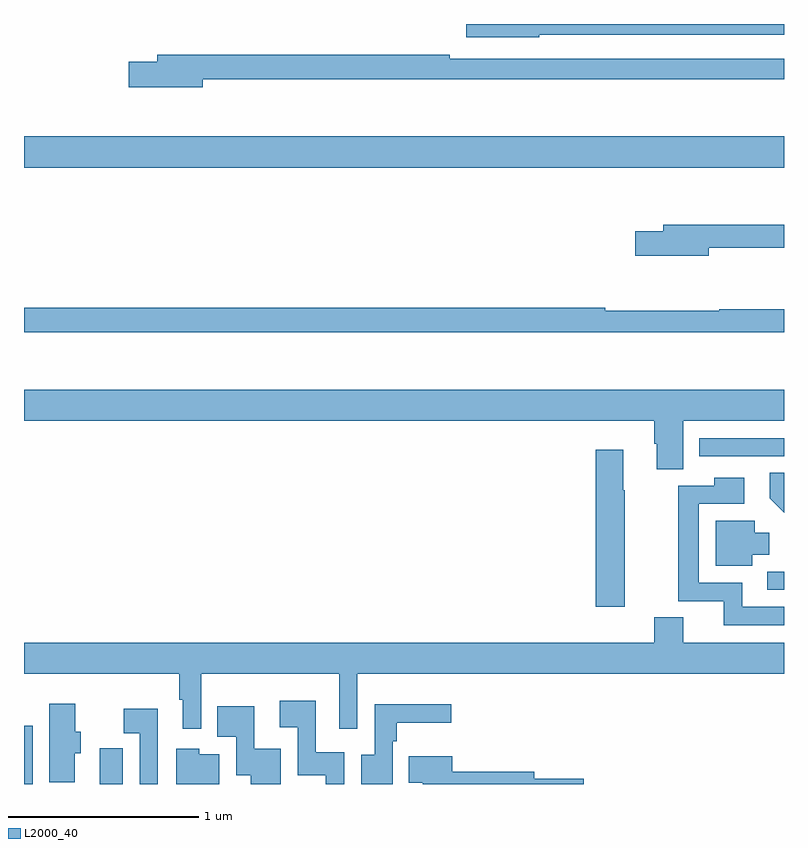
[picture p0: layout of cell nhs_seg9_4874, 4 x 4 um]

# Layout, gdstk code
import gdstk
lib = gdstk.Library(unit=1e-6, precision=1e-09)
def R(c, l, rs):  # rectangles x0, y0, x1, y1
    for r in rs: c.add(gdstk.rectangle(r[:2], r[2:], *l))
def P(c, l, *ps):  # polygons
    for p in ps: c.add(gdstk.Polygon(p, *l))
L2000_40 = (2000, 40)

nhs_seg9_4874 = lib.new_cell('nhs_seg9_4874')
R(nhs_seg9_4874, L2000_40, [(393,1202.5,393.046,1202.806), (393.398,1202.5,393.52,1202.687), (396.912,1203.522,397,1203.618), (396.554,1204.224,397,1204.32), (393,1205.744,397,1205.908)])
P(nhs_seg9_4874, L2000_40, [(395.712,1206.444),(397,1206.444),(397,1206.5),(395.328,1206.5),(395.328,1206.431),(395.712,1206.431)],
  [(393.94,1206.21),(397,1206.21),(397,1206.318),(395.24,1206.318),(395.24,1206.338),(393.701,1206.338),(393.701,1206.302),(393.552,1206.302),(393.552,1206.167),(393.94,1206.167)],
  [(396.604,1205.322),(397,1205.322),(397,1205.443),(396.365,1205.443),(396.365,1205.409),(396.216,1205.409),(396.216,1205.279),(396.604,1205.279)],
  [(397,1204.999),(396.658,1204.999),(396.658,1204.991),(396.058,1204.991),(396.058,1205.006),(393,1205.006),(393,1204.878),(397,1204.878)],
  [(396.469,1204.412),(397,1204.412),(397,1204.576),(393,1204.576),(393,1204.412),(396.317,1204.412),(396.317,1204.29),(396.329,1204.29),(396.329,1204.156),(396.469,1204.156)],
  [(396.162,1204.045),(396.154,1204.045),(396.154,1204.258),(396.008,1204.258),(396.008,1203.432),(396.162,1203.432)],
  [(397,1204.139),(396.925,1204.139),(396.925,1204.003),(397,1203.928)],
  [(397,1203.432),(396.781,1203.432),(396.781,1203.558),(396.552,1203.558),(396.552,1203.975),(396.79,1203.975),(396.79,1204.111),(396.634,1204.111),(396.634,1204.071),(396.444,1204.071),(396.444,1203.462),(396.683,1203.462),(396.683,1203.336),(397,1203.336)],
  [(396.832,1203.707),(396.922,1203.707),(396.922,1203.823),(396.847,1203.823),(396.847,1203.886),(396.641,1203.886),(396.641,1203.65),(396.832,1203.65)],
  [(393,1203.08),(393.817,1203.08),(393.817,1202.943),(393.836,1202.943),(393.836,1202.79),(393.933,1202.79),(393.933,1203.08),(394.659,1203.08),(394.659,1202.79),(394.755,1202.79),(394.755,1203.08),(397,1203.08),(397,1203.244),(396.469,1203.244),(396.469,1203.377),(396.317,1203.377),(396.317,1203.244),(393,1203.244)],
  [(394.686,1202.668),(394.536,1202.668),(394.536,1202.938),(394.347,1202.938),(394.347,1202.798),(394.44,1202.798),(394.44,1202.546),(394.588,1202.546),(394.588,1202.5),(394.686,1202.5)],
  [(393.268,1202.661),(393.298,1202.661),(393.298,1202.775),(393.271,1202.775),(393.271,1202.923),(393.134,1202.923),(393.134,1202.508),(393.268,1202.508)],
  [(394.941,1202.726),(394.961,1202.726),(394.961,1202.822),(395.248,1202.822),(395.248,1202.92),(394.845,1202.92),(394.845,1202.655),(394.775,1202.655),(394.775,1202.5),(394.941,1202.5)],
  [(394.351,1202.686),(394.213,1202.686),(394.213,1202.908),(394.018,1202.908),(394.018,1202.75),(394.116,1202.75),(394.116,1202.546),(394.193,1202.546),(394.193,1202.5),(394.351,1202.5)],
  [(393.705,1202.896),(393.526,1202.896),(393.526,1202.768),(393.609,1202.768),(393.609,1202.5),(393.705,1202.5)],
  [(394.027,1202.656),(393.922,1202.656),(393.922,1202.686),(393.8,1202.686),(393.8,1202.5),(394.027,1202.5)],
  [(395.947,1202.528),(395.686,1202.528),(395.686,1202.564),(395.254,1202.564),(395.254,1202.647),(395.026,1202.647),(395.026,1202.507),(395.099,1202.507),(395.099,1202.5),(395.947,1202.5)])

lib.write_gds('nhs_seg9_4874.gds')
